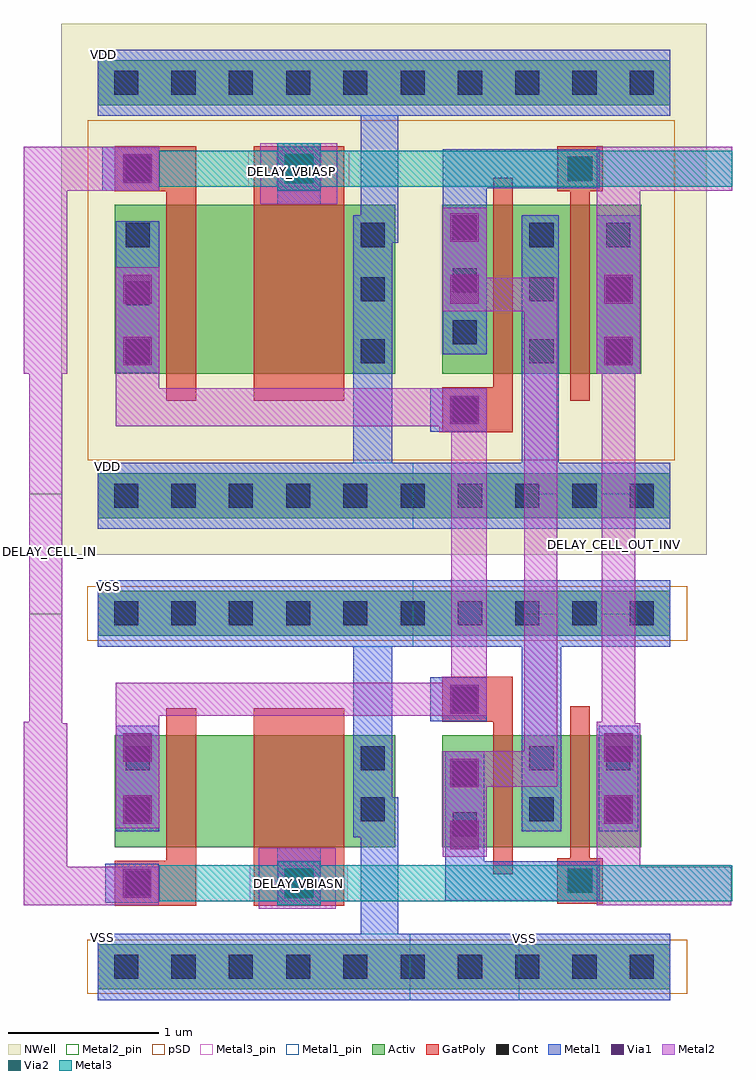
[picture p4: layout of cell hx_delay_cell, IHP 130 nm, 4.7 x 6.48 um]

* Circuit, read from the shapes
.subckt hx_delay_cell DELAY_CELL_IN DELAY_CELL_OUT DELAY_CELL_OUT_INV DELAY_VBIASN DELAY_VBIASP VDD VSS
XM1 n1 DELAY_CELL_IN n2 VSS sg13_lv_nmos w=0.74u l=0.2u
XM2 VSS DELAY_VBIASN n1 VSS sg13_lv_nmos w=0.74u l=0.6u
XM3 VSS n2 DELAY_CELL_OUT VSS sg13_lv_nmos w=0.74u l=0.13u
XM4 DELAY_CELL_OUT_INV DELAY_CELL_OUT VSS VSS sg13_lv_nmos w=0.74u l=0.13u
XM5 n3 DELAY_CELL_IN n2 VDD sg13_lv_pmos w=1.12u l=0.2u
XM6 VDD DELAY_VBIASP n3 VDD sg13_lv_pmos w=1.12u l=0.6u
XM7 VDD n2 DELAY_CELL_OUT VDD sg13_lv_pmos w=1.12u l=0.13u
XM8 DELAY_CELL_OUT_INV DELAY_CELL_OUT VDD VDD sg13_lv_pmos w=1.12u l=0.13u
.ends

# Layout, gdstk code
import gdstk
lib = gdstk.Library(unit=1e-6, precision=1e-09)
def R(c, l, rs):  # rectangles x0, y0, x1, y1
    for r in rs: c.add(gdstk.rectangle(r[:2], r[2:], *l))
def A(c, l, x, y, w, h, nx, ny, dx, dy):  # array of equal rectangles
    R(c, l, [(x+i*dx, y+j*dy, x+i*dx+w, y+j*dy+h) for i in range(nx) for j in range(ny)])
def P(c, l, *ps):  # polygons
    for p in ps: c.add(gdstk.Polygon(p, *l))
Activ = (1, 0)
GatPoly = (5, 0)
Cont = (6, 0)
Metal1 = (8, 0)
Metal1_pin = (8, 2)
Metal2 = (10, 0)
Metal2_pin = (10, 2)
pSD = (14, 0)
Via1 = (19, 0)
Via2 = (29, 0)
Metal3 = (30, 0)
Metal3_pin = (30, 2)
NWell = (31, 0)

hx_delay_cell = lib.new_cell('hx_delay_cell')
R(hx_delay_cell, Activ, [(0,-0.15,3.8,0.15), (0.115,0.795,1.975,1.535), (2.285,0.795,3.605,1.535), (0,2.195,3.8,2.495), (0,2.975,3.8,3.275), (0.115,3.935,1.975,5.055), (2.285,3.935,3.605,5.055), (0,5.715,3.8,6.015)])
R(hx_delay_cell, GatPoly, [(1.035,0.405,1.635,1.715), (1.035,3.755,1.635,5.445)])
P(hx_delay_cell, GatPoly, [(0.115,0.405),(0.115,0.705),(0.455,0.705),(0.455,1.715),(0.655,1.715),(0.655,0.405)],
  [(0.455,3.755),(0.455,5.145),(0.115,5.145),(0.115,5.445),(0.655,5.445),(0.655,3.755)],
  [(2.285,3.545),(2.285,3.845),(2.625,3.845),(2.625,5.235),(2.755,5.235),(2.755,3.545)],
  [(3.135,3.755),(3.135,5.145),(3.05,5.145),(3.05,5.445),(3.35,5.445),(3.35,5.145),(3.265,5.145),(3.265,3.755)],
  [(2.625,0.615),(2.625,1.625),(2.285,1.625),(2.285,1.925),(2.755,1.925),(2.755,0.615)],
  [(3.05,0.42),(3.05,0.72),(3.135,0.72),(3.135,1.73),(3.265,1.73),(3.265,0.72),(3.35,0.72),(3.35,0.42)])
A(hx_delay_cell, Cont, 0.11, -0.08, 0.16, 0.16, 10, 2, 0.38, 2.345)
A(hx_delay_cell, Cont, 0.11, 3.045, 0.16, 0.16, 10, 2, 0.38, 2.74)
A(hx_delay_cell, Cont, 0.185, 4.005, 0.16, 0.16, 1, 3, 0, 0.385)
R(hx_delay_cell, Cont, [(0.185,0.475,0.345,0.635), (1.255,0.475,1.415,0.635), (3.12,0.49,3.28,0.65), (2.355,0.865,2.515,1.025), (0.185,0.965,0.345,1.125), (1.745,0.965,1.905,1.125), (2.865,0.965,3.025,1.125), (3.375,0.965,3.535,1.125), (2.355,1.205,2.515,1.365), (0.185,1.305,0.345,1.465), (1.745,1.305,1.905,1.465), (2.865,1.305,3.025,1.465), (3.375,1.305,3.535,1.465), (2.355,1.695,2.515,1.855), (2.355,3.615,2.515,3.775), (1.745,4.005,1.905,4.165), (2.865,4.005,3.025,4.165), (3.375,4.005,3.535,4.165), (2.355,4.13,2.515,4.29), (1.745,4.415,1.905,4.575), (2.865,4.415,3.025,4.575), (3.375,4.415,3.535,4.575), (2.355,4.475,2.515,4.635), (1.745,4.775,1.905,4.935), (2.865,4.775,3.025,4.935), (3.375,4.775,3.535,4.935), (2.355,4.825,2.515,4.985), (0.185,5.215,0.345,5.375), (1.255,5.215,1.415,5.375), (3.12,5.215,3.28,5.375)])
R(hx_delay_cell, Metal1, [(1.19,0.41,1.48,0.79), (0.05,0.425,0.405,0.685), (0.12,0.9,0.41,1.6), (3.325,0.9,3.585,1.6), (2.205,1.63,2.58,1.92), (2.205,3.55,2.58,3.84), (3.31,3.935,3.6,4.985), (0.12,3.94,0.41,4.945), (1.19,5.06,1.48,5.44), (0.03,5.15,0.41,5.44)])
P(hx_delay_cell, Metal1, [(2.305,0.44),(2.305,1.43),(2.565,1.43),(2.565,0.7),(3.33,0.7),(3.33,0.44)],
  [(2.29,4.065),(2.29,5.425),(3.33,5.425),(3.33,5.165),(2.58,5.165),(2.58,4.065)],
  [(0,-0.22),(0,0.22),(1.745,0.22),(1.745,0.86),(1.695,0.86),(1.695,2.125),(0,2.125),(0,2.565),(3.8,2.565),(3.8,2.125),(3.075,2.125),(3.075,0.9),(2.815,0.9),(2.815,2.125),(1.955,2.125),(1.955,1.125),(1.995,1.125),(1.995,0.22),(3.8,0.22),(3.8,-0.22)],
  [(0,2.905),(0,3.345),(1.695,3.345),(1.695,4.985),(1.745,4.985),(1.745,5.645),(0,5.645),(0,6.085),(3.8,6.085),(3.8,5.645),(1.995,5.645),(1.995,4.805),(1.955,4.805),(1.955,3.345),(2.815,3.345),(2.815,4.985),(3.06,4.985),(3.06,3.345),(3.8,3.345),(3.8,2.905)])
R(hx_delay_cell, Metal1_pin, [(0,-0.22,2.075,0.22), (2.795,-0.22,3.8,0.22), (0,2.125,2.095,2.565), (0,2.905,2.095,3.345), (0,5.645,3.8,6.085)])
R(hx_delay_cell, Metal2, [(1.07,0.385,1.58,0.79), (1.08,5.06,1.59,5.465)])
P(hx_delay_cell, Metal2, [(-0.49,0.41),(-0.49,1.625),(-0.455,1.625),(-0.455,3.935),(-0.49,3.935),(-0.49,5.44),(0.41,5.44),(0.41,5.15),(-0.2,5.15),(-0.2,3.935),(-0.235,3.935),(-0.235,1.615),(-0.2,1.615),(-0.2,0.665),(0.405,0.665),(0.405,0.41)],
  [(0.12,0.92),(0.12,1.885),(2.285,1.885),(2.285,1.925),(2.345,1.925),(2.345,3.545),(2.265,3.545),(2.265,3.585),(0.12,3.585),(0.12,4.64),(0.41,4.64),(0.41,3.84),(2.58,3.84),(2.58,1.665),(0.41,1.665),(0.41,0.92)],
  [(2.29,0.73),(2.29,1.43),(2.83,1.43),(2.83,4.35),(2.29,4.35),(2.29,5.035),(2.58,5.035),(2.58,4.57),(3.05,4.57),(3.05,1.195),(2.58,1.195),(2.58,0.73)],
  [(3.31,0.41),(3.31,1.625),(3.345,1.625),(3.345,3.935),(3.31,3.935),(3.31,5.44),(4.21,5.44),(4.21,5.15),(3.6,5.15),(3.6,3.935),(3.565,3.935),(3.565,1.615),(3.6,1.615),(3.6,0.665),(4.205,0.665),(4.205,0.41)])
R(hx_delay_cell, Metal2_pin, [(-0.455,2.34,-0.235,3.14), (2.83,2.34,3.05,3.14), (3.345,2.34,3.565,3.14)])
R(hx_delay_cell, pSD, [(-0.07,-0.18,3.91,0.18), (-0.07,2.165,3.91,2.525), (-0.065,3.36,3.83,5.615)])
R(hx_delay_cell, Via1, [(0.165,0.46,0.355,0.65), (1.24,0.46,1.43,0.65), (2.34,0.78,2.53,0.97), (0.17,0.95,0.36,1.14), (3.36,0.95,3.55,1.14), (2.34,1.19,2.53,1.38), (0.17,1.36,0.36,1.55), (3.36,1.36,3.55,1.55), (2.34,1.68,2.53,1.87), (2.34,3.6,2.53,3.79), (0.17,3.99,0.36,4.18), (3.36,3.99,3.55,4.18), (0.17,4.4,0.36,4.59), (2.34,4.4,2.53,4.59), (3.36,4.4,3.55,4.59), (2.34,4.81,2.53,5), (0.17,5.2,0.36,5.39), (1.24,5.2,1.43,5.39)])
R(hx_delay_cell, Via2, [(1.24,0.46,1.43,0.65), (1.24,5.2,1.43,5.39)])
P(hx_delay_cell, Metal3, [(1.19,5.15),(1.19,5.175),(0.41,5.175),(0.41,5.415),(1.19,5.415),(1.19,5.465),(1.48,5.465),(1.48,5.415),(4.21,5.415),(4.21,5.175),(1.48,5.175),(1.48,5.15)],
  [(1.19,0.41),(1.19,0.435),(0.41,0.435),(0.41,0.675),(1.19,0.675),(1.19,0.7),(1.48,0.7),(1.48,0.675),(4.21,0.675),(4.21,0.435),(1.48,0.435),(1.48,0.41)])
R(hx_delay_cell, Metal3_pin, [(1.01,0.435,1.66,0.675), (1,5.175,1.67,5.415)])
R(hx_delay_cell, NWell, [(-0.24,2.735,4.04,6.255)])
hx_delay_cell.add(gdstk.Label('VDD', (0.04,6.05), layer=8, texttype=25))
hx_delay_cell.add(gdstk.Label('VSS', (2.835,0.19), layer=8, texttype=25))
hx_delay_cell.add(gdstk.Label('VDD', (0.065,3.32), layer=8, texttype=25))
hx_delay_cell.add(gdstk.Label('VSS', (0.07,2.525), layer=8, texttype=25))
hx_delay_cell.add(gdstk.Label('VSS', (0.03,0.195), layer=8, texttype=25))
hx_delay_cell.add(gdstk.Label('DELAY_CELL_OUT_INV', (3.43,2.8), layer=10, texttype=25))
hx_delay_cell.add(gdstk.Label('DELAY_CELL_OUT', (2.915,2.79), layer=10, texttype=25))
hx_delay_cell.add(gdstk.Label('DELAY_CELL_IN', (-0.32,2.755), layer=10, texttype=25))
hx_delay_cell.add(gdstk.Label('DELAY_VBIASP', (1.285,5.275), layer=30, texttype=25))
hx_delay_cell.add(gdstk.Label('DELAY_VBIASN', (1.33,0.555), layer=30, texttype=25))

lib.write_gds('hx_delay_cell.gds')
